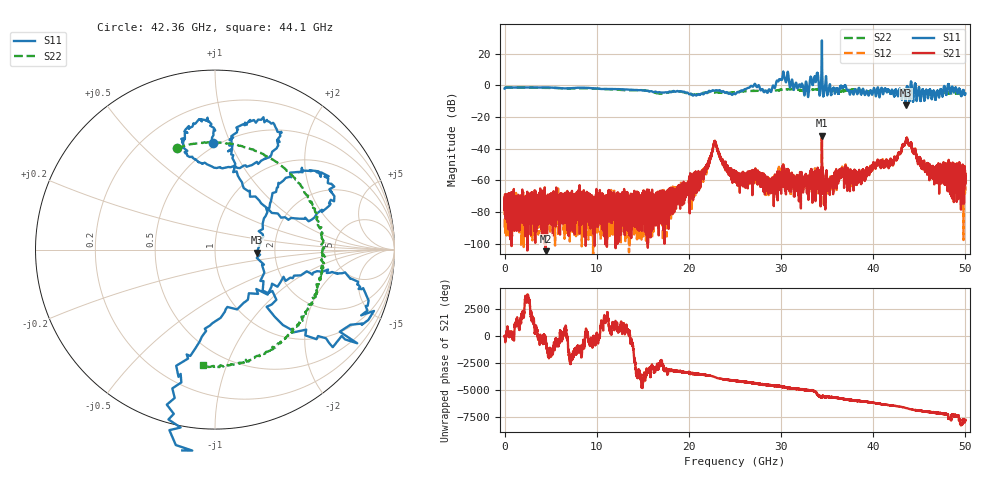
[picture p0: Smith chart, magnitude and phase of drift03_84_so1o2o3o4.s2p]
!Created with skrf (http://scikit-rf.org).
# Hz S RI R 50.0
!freq ReS11 ImS11 ReS21 ImS21 ReS12 ImS12 ReS22 ImS22
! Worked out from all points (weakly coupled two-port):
!   10000 points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, 5.3 MHz to 50 GHz, reference 50 ohm
!   highest |S21| = -31.79 dB at 34.43 GHz (marker M1); lowest = -105.0 dB at 4.46 GHz (marker M2)
!   lowest |S11| = -12.6 dB at 43.52 GHz (marker M3), VSWR 1.61, Z = 80.2 - j2.89 ohm
!   |S11| at or under -10 dB: 43.4818 GHz to 43.55308 GHz (71.28 MHz wide, 0.164 % of centre); 43.90884 GHz to 43.91168 GHz (2.849 MHz wide, 0.00649 % of centre); 44.31218 GHz to 44.31863 GHz (6.453 MHz wide, 0.0146 % of centre) (the widest 3 of 4)
!   |S22| runs from -5.9 to -1.3 dB; largest |S21 - S12| = 0.0064
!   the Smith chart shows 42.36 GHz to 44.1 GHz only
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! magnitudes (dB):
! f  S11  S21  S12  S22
! 5.3 MHz  -2.1  -72.6  -89.8  -2.1
! 4.46 GHz  -1.4  -105.0  -88.2  -1.6
! 8.34 GHz  -1.5  -67.5  -80.0  -1.9
! 16.67 GHz  -4.4  -73.2  -74.8  -5.1
! 21.05 GHz  -5.6  -55.9  -59.9  -5.5
! 21.89 GHz  -4.7  -51.2  -50.7  -4.4
! 22.81 GHz  -3.4  -35.5  -35.3  -4.4
! 25.01 GHz  -5.5  -56.4  -55.4  -4.2
! 27.01 GHz  -0.4  -59.5  -56.7  -3.6
! 28.89 GHz  -4.2  -61.0  -63.7  -3.5
! 30.14 GHz  4.6  -57.1  -55.9  -2.8
! 32.74 GHz  2.0  -58.8  -57.6  -3.3
! 33.34 GHz  2.6  -61.7  -57.6  -2.9
! 33.82 GHz  4.0  -56.2  -60.2  -2.5
! 34.43 GHz  28.4  -31.8  -33.3  -2.2
! 35.02 GHz  -6.3  -63.5  -62.1  -2.4
! 36.81 GHz  -1.0  -57.4  -55.6  -3.4
! 38.11 GHz  -2.8  -57.9  -57.9  -2.8
! 41.67 GHz  -2.8  -51.2  -49.4  -3.7
! 43.52 GHz  -12.6  -35.6  -35.2  -4.3
! 46.49 GHz  -4.4  -59.0  -54.4  -5.3
! 50 GHz  -5.2  -57.9  -57.4  -4.9
